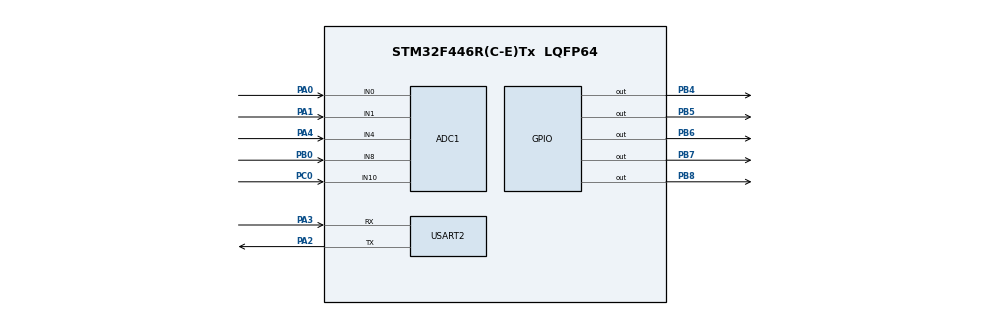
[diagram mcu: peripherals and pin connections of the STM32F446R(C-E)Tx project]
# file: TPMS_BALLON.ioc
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ADC1.Channel-0\#ChannelRegularConversion=ADC_CHANNEL_0
ADC1.Channel-1\#ChannelRegularConversion=ADC_CHANNEL_0
ADC1.Channel-2\#ChannelRegularConversion=ADC_CHANNEL_0
ADC1.Channel-3\#ChannelRegularConversion=ADC_CHANNEL_0
ADC1.Channel-4\#ChannelRegularConversion=ADC_CHANNEL_0
ADC1.ContinuousConvMode=ENABLE
ADC1.DMAContinuousRequests=ENABLE
ADC1.NbrOfConversion=5
ADC1.NbrOfConversionFlag=1
ADC1.Rank-0\#ChannelRegularConversion=1
ADC1.Rank-1\#ChannelRegularConversion=2
ADC1.Rank-2\#ChannelRegularConversion=3
ADC1.Rank-3\#ChannelRegularConversion=4
ADC1.Rank-4\#ChannelRegularConversion=5
ADC1.SamplingTime-0\#ChannelRegularConversion=ADC_SAMPLETIME_84CYCLES
ADC1.SamplingTime-1\#ChannelRegularConversion=ADC_SAMPLETIME_3CYCLES
ADC1.SamplingTime-2\#ChannelRegularConversion=ADC_SAMPLETIME_3CYCLES
ADC1.SamplingTime-3\#ChannelRegularConversion=ADC_SAMPLETIME_3CYCLES
ADC1.SamplingTime-4\#ChannelRegularConversion=ADC_SAMPLETIME_3CYCLES
ADC1.ScanConvMode=ENABLE
ADC1.master=1
Dma.ADC1.0.Direction=DMA_PERIPH_TO_MEMORY
Dma.ADC1.0.FIFOMode=DMA_FIFOMODE_DISABLE
Dma.ADC1.0.Instance=DMA2_Stream0
Dma.ADC1.0.MemDataAlignment=DMA_MDATAALIGN_HALFWORD
Dma.ADC1.0.MemInc=DMA_MINC_ENABLE
Dma.ADC1.0.Mode=DMA_CIRCULAR
Dma.ADC1.0.PeriphDataAlignment=DMA_PDATAALIGN_HALFWORD
Dma.ADC1.0.PeriphInc=DMA_PINC_DISABLE
Dma.ADC1.0.Priority=DMA_PRIORITY_LOW
Dma.Request0=ADC1
Mcu.Family=STM32F4
Mcu.Name=STM32F446R(C-E)Tx
Mcu.Package=LQFP64
NVIC.DMA2_Stream0_IRQn=true\:0\:0\:false\:false\:true\:false\:true\:true
NVIC.PriorityGroup=NVIC_PRIORITYGROUP_4
PA0-WKUP.Signal=ADCx_IN0
PA1.Signal=ADCx_IN1
PA13.Mode=Serial_Wire
PA13.Signal=SYS_JTMS-SWDIO
PA14.Mode=Serial_Wire
PA14.Signal=SYS_JTCK-SWCLK
PA2.Mode=Asynchronous
PA2.Signal=USART2_TX
PA3.Mode=Asynchronous
PA3.Signal=USART2_RX
PA4.Signal=ADCx_IN4
PB0.Signal=ADCx_IN8
PB4.Signal=GPIO_Output
PB5.Signal=GPIO_Output
PB6.Signal=GPIO_Output
PB7.Signal=GPIO_Output
PB8.Signal=GPIO_Output
PC0.Signal=ADCx_IN10
ProjectManager.HeapSize=0x200
ProjectManager.StackSize=0x400
ProjectManager.TargetToolchain=STM32CubeIDE
RCC.CortexFreq_Value=16000000
RCC.USBFreq_Value=96000000
RCC.VCOOutputFreq_Value=192000000
SH.ADCx_IN0.0=ADC1_IN0,IN0
SH.ADCx_IN1.0=ADC1_IN1,IN1
SH.ADCx_IN10.0=ADC1_IN10,IN10
SH.ADCx_IN4.0=ADC1_IN4,IN4
SH.ADCx_IN8.0=ADC1_IN8,IN8
USART2.VirtualMode=VM_ASYNC
board=custom

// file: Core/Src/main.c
/* USER CODE BEGIN Header */
/**
  ******************************************************************************
  * @file           : main.c
  * @brief          : TPMS simulator (balloon model) - 4 wheel nodes + dashboard
  *
  * ADC1 (scan + DMA, circular) channels:
  *   Rank 1 : IN0  (PA0)  -> FL pressure  (MPX5010DP via 10k/20k divider)
  *   Rank 2 : IN1  (PA1)  -> FR pressure
  *   Rank 3 : IN4  (PA4)  -> RL pressure
  *   Rank 4 : IN8  (PB0)  -> RR pressure
  *   Rank 5 : IN10 (PC0)  -> LM35 temperature (powered from 5 V)
  *
  * Outputs:
  *   PB4..PB7 : alert LEDs FL, FR, RL, RR
  *   PB8      : buzzer
  *   USART2   : 115200 baud, lines like  FL,2.85,27.3,NORMAL
  *
  * FIXES APPLIED (see inline comments marked "FIX:"):
  *   1. MX_DMA_Init() now actually initializes hdma_adc1 and links it to
  *      hadc1 via __HAL_LINKDMA(). Previously the DMA stream was never
  *      configured, so HAL_ADC_Start_DMA() had nothing to run on.
  *   2. MX_GPIO_Init() now sets PA0/PA1/PA4, PB0 and PC0 to GPIO_MODE_ANALOG.
  *      Previously these ADC input pins were left in their reset state.
  *   3. MX_GPIO_Init() now configures PA2/PA3 as USART2 alternate function
  *      (AF7) pins. Previously USART2 TX/RX were never routed to the pins.
  *   4. Minor: USER CODE marker placement around the main while(1) loop
  *      corrected to match standard CubeMX template ordering.
  *
  * NOTE: Peripheral clock enables for ADC1 and USART2 themselves
  * (__HAL_RCC_ADC1_CLK_ENABLE / __HAL_RCC_USART2_CLK_ENABLE) are expected
  * inside HAL_ADC_MspInit() / HAL_UART_MspInit() in stm32f4xx_hal_msp.c,
  * which is not part of this file. If that file is missing those calls,
  * add them there.
  ******************************************************************************
  */
/* USER CODE END Header */
#include "main.h"

/* USER CODE BEGIN Includes */
#include <stdio.h>
#include <string.h>
/* USER CODE END Includes */

/* USER CODE BEGIN PD */
#define P_LOW          1.5f      // kPa  : below this  -> LOW
#define P_HIGH         4.5f      // kPa  : above this  -> HIGH
#define T_HIGH         45.0f     // degC : above this  -> OVERHEAT
#define KPA_PER_COUNT  0.002686f // MPX5010DP behind 10k/20k divider
#define ADC_MIN_VALID  50.0f     // raw below this -> sensor disconnected
/* USER CODE END PD */

ADC_HandleTypeDef hadc1;
DMA_HandleTypeDef hdma_adc1;

UART_HandleTypeDef huart2;

/* USER CODE BEGIN PV */
volatile uint16_t adc_buf[5];            // filled by DMA: FL, FR, RL, RR, TEMP
float raw0[4] = {0};                     // zero-pressure offsets (calibrated at startup)
const char *wheel[4] = {"FL", "FR", "RL", "RR"};
/* USER CODE END PV */

void SystemClock_Config(void);
static void MX_GPIO_Init(void);
static void MX_DMA_Init(void);
static void MX_ADC1_Init(void);
static void MX_USART2_UART_Init(void);

/* USER CODE BEGIN 0 */
float adc_to_kpa(float raw, float zero)
{
    float p = (raw - zero) * KPA_PER_COUNT;
    return (p < 0.0f) ? 0.0f : p;
}

float adc_to_celsius(float raw)
{
    return (raw * 3.3f / 4095.0f) * 100.0f;   // LM35: 10 mV per degC
}

const char* check_status(float raw, float p, float t)
{
    if (raw < ADC_MIN_VALID) return "NO SIGNAL";
    if (p < P_LOW)           return "LOW";
    if (p > P_HIGH)          return "HIGH";
    if (t > T_HIGH)          return "OVERHEAT";
    return "NORMAL";
}
/* USER CODE END 0 */

int main(void)
{

  /* MCU Configuration--------------------------------------------------------*/

  /* Reset of all peripherals, Initializes the Flash interface and the Systick. */
  HAL_Init();

  /* Configure the system clock */
  SystemClock_Config();

  /* Initialize all configured peripherals */
  MX_GPIO_Init();
  MX_DMA_Init();
  MX_ADC1_Init();
  MX_USART2_UART_Init();
  /* USER CODE BEGIN 2 */
  HAL_ADC_Start_DMA(&hadc1, (uint32_t*)adc_buf, 5);

  /* Zero-pressure calibration: keep balloons DETACHED (tubing open to air)
     during the first second after reset. */
  HAL_Delay(500);                                   // let the ADC settle
  for (int s = 0; s < 32; s++)
  {
      for (int i = 0; i < 4; i++) raw0[i] += adc_buf[i];
      HAL_Delay(5);
  }
  for (int i = 0; i < 4; i++) raw0[i] /= 32.0f;
  /* USER CODE END 2 */

  /* Infinite loop */
  /* USER CODE BEGIN WHILE */
  while (1)
  {
    float avg[5] = {0};
    for (int s = 0; s < 16; s++)                    // average 16 samples (noise reduction)
    {
        for (int i = 0; i < 5; i++) avg[i] += adc_buf[i];
        HAL_Delay(5);
    }
    for (int i = 0; i < 5; i++) avg[i] /= 16.0f;

    float temp = adc_to_celsius(avg[4]);
    uint8_t alarm = 0;
    char msg[64];

    for (int i = 0; i < 4; i++)
    {
        float p = adc_to_kpa(avg[i], raw0[i]);
        const char *st = check_status(avg[i], p, temp);
        uint8_t fault = (strcmp(st, "NORMAL") != 0);
        alarm |= fault;

        HAL_GPIO_WritePin(GPIOB, (uint16_t)(GPIO_PIN_4 << i),
                          fault ? GPIO_PIN_SET : GPIO_PIN_RESET);

        int len = snprintf(msg, sizeof(msg), "%s,%.2f,%.1f,%s\r\n",
                           wheel[i], (double)p, (double)temp, st);

        /* Guard against a truncated/failed snprintf so we never pass a
           negative or out-of-range length to HAL_UART_Transmit. */
        if (len < 0)
        {
            len = 0;
        }
        else if ((size_t)len >= sizeof(msg))
        {
            len = sizeof(msg) - 1;
        }

        HAL_UART_Transmit(&huart2, (uint8_t*)msg, len, 100);
    }
    HAL_GPIO_WritePin(GPIOB, GPIO_PIN_8, alarm ? GPIO_PIN_SET : GPIO_PIN_RESET);
    HAL_Delay(500);
    /* USER CODE END WHILE */

  }
}

void SystemClock_Config(void)
{
  RCC_OscInitTypeDef RCC_OscInitStruct = {0};
  RCC_ClkInitTypeDef RCC_ClkInitStruct = {0};

  /** Configure the main internal regulator output voltage
  */
  __HAL_RCC_PWR_CLK_ENABLE();
  __HAL_PWR_VOLTAGESCALING_CONFIG(PWR_REGULATOR_VOLTAGE_SCALE3);

  /** Initializes the RCC Oscillators according to the specified parameters
  * in the RCC_OscInitTypeDef structure.
  */
  RCC_OscInitStruct.OscillatorType = RCC_OSCILLATORTYPE_HSI;
  RCC_OscInitStruct.HSIState = RCC_HSI_ON;
  RCC_OscInitStruct.HSICalibrationValue = RCC_HSICALIBRATION_DEFAULT;
  RCC_OscInitStruct.PLL.PLLState = RCC_PLL_NONE;
  if (HAL_RCC_OscConfig(&RCC_OscInitStruct) != HAL_OK)
  {
    Error_Handler();
  }

  /** Initializes the CPU, AHB and APB buses clocks
  */
  RCC_ClkInitStruct.ClockType = RCC_CLOCKTYPE_HCLK|RCC_CLOCKTYPE_SYSCLK
                              |RCC_CLOCKTYPE_PCLK1|RCC_CLOCKTYPE_PCLK2;
  RCC_ClkInitStruct.SYSCLKSource = RCC_SYSCLKSOURCE_HSI;
  RCC_ClkInitStruct.AHBCLKDivider = RCC_SYSCLK_DIV1;
  RCC_ClkInitStruct.APB1CLKDivider = RCC_HCLK_DIV1;
  RCC_ClkInitStruct.APB2CLKDivider = RCC_HCLK_DIV1;

  if (HAL_RCC_ClockConfig(&RCC_ClkInitStruct, FLASH_LATENCY_0) != HAL_OK)
  {
    Error_Handler();
  }
}

static void MX_ADC1_Init(void)
{

  ADC_ChannelConfTypeDef sConfig = {0};

  /** Configure the global features of the ADC (Clock, Resolution, Data Alignment and number of conversion)
  */
  hadc1.Instance = ADC1;
  hadc1.Init.ClockPrescaler = ADC_CLOCK_SYNC_PCLK_DIV2;
  hadc1.Init.Resolution = ADC_RESOLUTION_12B;
  hadc1.Init.ScanConvMode = ENABLE;
  hadc1.Init.ContinuousConvMode = ENABLE;
  hadc1.Init.DiscontinuousConvMode = DISABLE;
  hadc1.Init.ExternalTrigConvEdge = ADC_EXTERNALTRIGCONVEDGE_NONE;
  hadc1.Init.ExternalTrigConv = ADC_SOFTWARE_START;
  hadc1.Init.DataAlign = ADC_DATAALIGN_RIGHT;
  hadc1.Init.NbrOfConversion = 5;
  hadc1.Init.DMAContinuousRequests = ENABLE;
  hadc1.Init.EOCSelection = ADC_EOC_SINGLE_CONV;
  if (HAL_ADC_Init(&hadc1) != HAL_OK)
  {
    Error_Handler();
  }

  /** Rank 1 : Channel 0 (PA0) - FL pressure
  */
  sConfig.Channel = ADC_CHANNEL_0;
  sConfig.Rank = 1;
  sConfig.SamplingTime = ADC_SAMPLETIME_84CYCLES;
  if (HAL_ADC_ConfigChannel(&hadc1, &sConfig) != HAL_OK)
  {
    Error_Handler();
  }

  /** Rank 2 : Channel 1 (PA1) - FR pressure
  */
  sConfig.Channel = ADC_CHANNEL_1;
  sConfig.Rank = 2;
  sConfig.SamplingTime = ADC_SAMPLETIME_84CYCLES;
  if (HAL_ADC_ConfigChannel(&hadc1, &sConfig) != HAL_OK)
  {
    Error_Handler();
  }

  /** Rank 3 : Channel 4 (PA4) - RL pressure
  */
  sConfig.Channel = ADC_CHANNEL_4;
  sConfig.Rank = 3;
  sConfig.SamplingTime = ADC_SAMPLETIME_84CYCLES;
  if (HAL_ADC_ConfigChannel(&hadc1, &sConfig) != HAL_OK)
  {
    Error_Handler();
  }

  /** Rank 4 : Channel 8 (PB0) - RR pressure
  */
  sConfig.Channel = ADC_CHANNEL_8;
  sConfig.Rank = 4;
  sConfig.SamplingTime = ADC_SAMPLETIME_84CYCLES;
  if (HAL_ADC_ConfigChannel(&hadc1, &sConfig) != HAL_OK)
  {
    Error_Handler();
  }

  /** Rank 5 : Channel 10 (PC0) - LM35 temperature
  */
  sConfig.Channel = ADC_CHANNEL_10;
  sConfig.Rank = 5;
  sConfig.SamplingTime = ADC_SAMPLETIME_84CYCLES;
  if (HAL_ADC_ConfigChannel(&hadc1, &sConfig) != HAL_OK)
  {
    Error_Handler();
  }

}

static void MX_USART2_UART_Init(void)
{

  huart2.Instance = USART2;
  huart2.Init.BaudRate = 115200;
  huart2.Init.WordLength = UART_WORDLENGTH_8B;
  huart2.Init.StopBits = UART_STOPBITS_1;
  huart2.Init.Parity = UART_PARITY_NONE;
  huart2.Init.Mode = UART_MODE_TX_RX;
  huart2.Init.HwFlowCtl = UART_HWCONTROL_NONE;
  huart2.Init.OverSampling = UART_OVERSAMPLING_16;
  if (HAL_UART_Init(&huart2) != HAL_OK)
  {
    Error_Handler();
  }

}

static void MX_DMA_Init(void)
{

  /* DMA controller clock enable */
  __HAL_RCC_DMA2_CLK_ENABLE();

  /* USER CODE BEGIN DMA_Init */
  /* FIX: hdma_adc1 was never actually initialized before - only the DMA2
     clock was enabled and the NVIC priority was set, but the stream itself
     had no configuration and was never linked to hadc1. ADC1's DMA request
     on this device maps to DMA2 Stream0 Channel 0. Without this block,
     HAL_ADC_Start_DMA() has no functioning stream to run on and adc_buf[]
     is never actually filled. */
  hdma_adc1.Instance = DMA2_Stream0;
  hdma_adc1.Init.Channel             = DMA_CHANNEL_0;
  hdma_adc1.Init.Direction           = DMA_PERIPH_TO_MEMORY;
  hdma_adc1.Init.PeriphInc           = DMA_PINC_DISABLE;
  hdma_adc1.Init.MemInc              = DMA_MINC_ENABLE;
  hdma_adc1.Init.PeriphDataAlignment = DMA_PDATAALIGN_HALFWORD;
  hdma_adc1.Init.MemDataAlignment    = DMA_MDATAALIGN_HALFWORD;
  hdma_adc1.Init.Mode                = DMA_CIRCULAR;
  hdma_adc1.Init.Priority            = DMA_PRIORITY_LOW;
  hdma_adc1.Init.FIFOMode            = DMA_FIFOMODE_DISABLE;
  if (HAL_DMA_Init(&hdma_adc1) != HAL_OK)
  {
    Error_Handler();
  }

  __HAL_LINKDMA(&hadc1, DMA_Handle, hdma_adc1);
  /* USER CODE END DMA_Init */

  /* DMA interrupt init */
  /* DMA2_Stream0_IRQn interrupt configuration */
  HAL_NVIC_SetPriority(DMA2_Stream0_IRQn, 0, 0);
  HAL_NVIC_EnableIRQ(DMA2_Stream0_IRQn);

}

static void MX_GPIO_Init(void)
{
  GPIO_InitTypeDef GPIO_InitStruct = {0};

  /* GPIO Ports Clock Enable */
  __HAL_RCC_GPIOC_CLK_ENABLE();
  __HAL_RCC_GPIOA_CLK_ENABLE();
  __HAL_RCC_GPIOB_CLK_ENABLE();

  /*Configure GPIO pin Output Level */
  HAL_GPIO_WritePin(GPIOB, GPIO_PIN_4|GPIO_PIN_5|GPIO_PIN_6|GPIO_PIN_7
                          |GPIO_PIN_8, GPIO_PIN_RESET);

  /* FIX: PA0, PA1, PA4 (FL/FR/RL pressure) were never configured as analog
     inputs - they were left in their GPIO reset state, which would make
     the corresponding ADC channels read garbage. */
  GPIO_InitStruct.Pin = GPIO_PIN_0|GPIO_PIN_1|GPIO_PIN_4;
  GPIO_InitStruct.Mode = GPIO_MODE_ANALOG;
  GPIO_InitStruct.Pull = GPIO_NOPULL;
  HAL_GPIO_Init(GPIOA, &GPIO_InitStruct);

  /* FIX: PB0 (RR pressure) likewise never configured as analog input. */
  GPIO_InitStruct.Pin = GPIO_PIN_0;
  GPIO_InitStruct.Mode = GPIO_MODE_ANALOG;
  GPIO_InitStruct.Pull = GPIO_NOPULL;
  HAL_GPIO_Init(GPIOB, &GPIO_InitStruct);

  /* FIX: PC0 (LM35 temperature) likewise never configured as analog input. */
  GPIO_InitStruct.Pin = GPIO_PIN_0;
  GPIO_InitStruct.Mode = GPIO_MODE_ANALOG;
  GPIO_InitStruct.Pull = GPIO_NOPULL;
  HAL_GPIO_Init(GPIOC, &GPIO_InitStruct);

  /* FIX: PA2 (USART2_TX) / PA3 (USART2_RX) were never routed to the
     USART2 alternate function - without this, no serial output is
     physically possible regardless of what MX_USART2_UART_Init() does. */
  GPIO_InitStruct.Pin = GPIO_PIN_2|GPIO_PIN_3;
  GPIO_InitStruct.Mode = GPIO_MODE_AF_PP;
  GPIO_InitStruct.Pull = GPIO_NOPULL;
  GPIO_InitStruct.Speed = GPIO_SPEED_FREQ_VERY_HIGH;
  GPIO_InitStruct.Alternate = GPIO_AF7_USART2;
  HAL_GPIO_Init(GPIOA, &GPIO_InitStruct);

  /*Configure GPIO pins : PB4 PB5 PB6 PB7
                           PB8 */
  GPIO_InitStruct.Pin = GPIO_PIN_4|GPIO_PIN_5|GPIO_PIN_6|GPIO_PIN_7
                          |GPIO_PIN_8;
  GPIO_InitStruct.Mode = GPIO_MODE_OUTPUT_PP;
  GPIO_InitStruct.Pull = GPIO_NOPULL;
  GPIO_InitStruct.Speed = GPIO_SPEED_FREQ_LOW;
  HAL_GPIO_Init(GPIOB, &GPIO_InitStruct);

}

void Error_Handler(void)
{
  __disable_irq();
  while (1)
  {
  }
}
